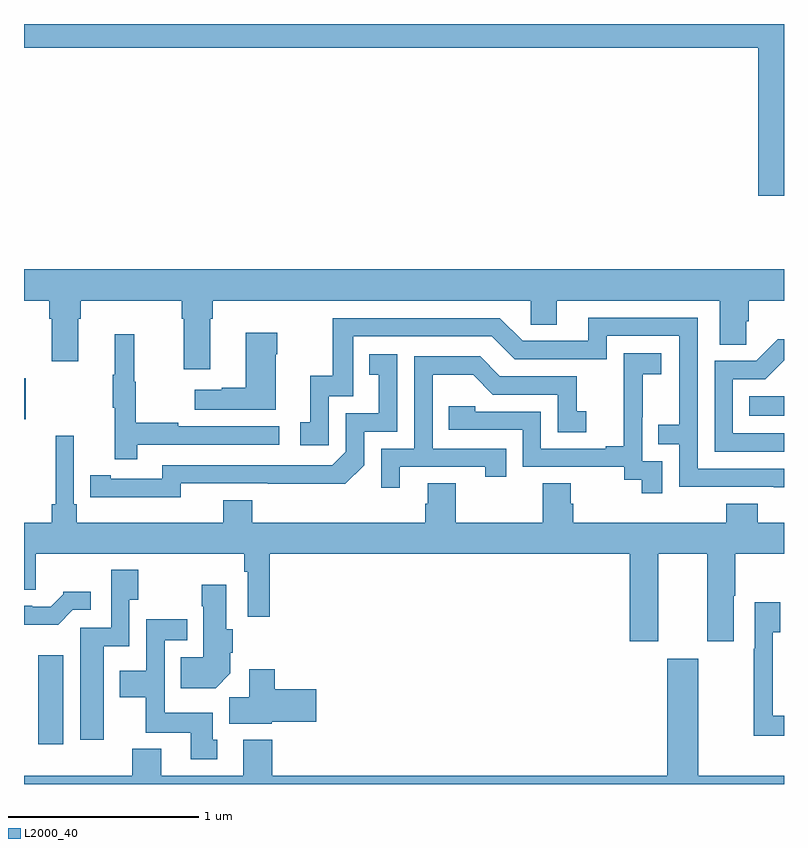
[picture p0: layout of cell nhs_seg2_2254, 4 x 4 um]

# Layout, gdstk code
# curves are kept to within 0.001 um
import gdstk
lib = gdstk.Library(unit=1e-6, precision=1e-09)
def R(c, l, rs):  # rectangles x0, y0, x1, y1
    for r in rs: c.add(gdstk.rectangle(r[:2], r[2:], *l))
def P(c, l, *ps):  # polygons
    for p in ps: c.add(gdstk.Polygon(p, *l))
L2000_40 = (2000, 40)

nhs_seg2_2254 = lib.new_cell('nhs_seg2_2254')
R(nhs_seg2_2254, L2000_40, [(229.076,604.008,229.207,604.477), (229,605.719,229.008,605.936), (232.816,605.738,233,605.842)])
P(nhs_seg2_2254, L2000_40, [(233,607.8),(229,607.8),(229,607.676),(232.865,607.676),(232.865,606.897),(233,606.897)],
  [(229.981,606.248),(229.994,606.248),(229.994,606.344),(231.666,606.344),(231.666,606.217),(231.805,606.217),(231.805,606.344),(232.661,606.344),(232.661,606.112),(232.8,606.112),(232.8,606.235),(232.814,606.235),(232.814,606.344),(233,606.344),(233,606.508),(229,606.508),(229,606.344),(229.133,606.344),(229.133,606.248),(229.145,606.248),(229.145,606.024),(229.285,606.024),(229.285,606.248),(229.298,606.248),(229.298,606.344),(229.829,606.344),(229.829,606.248),(229.841,606.248),(229.841,605.982),(229.981,605.982)],
  [(233,605.46),(232.545,605.46),(232.545,606.255),(231.971,606.255),(231.971,606.132),(231.624,606.132),(231.504,606.252),(230.625,606.252),(230.625,605.95),(230.507,605.95),(230.507,605.703),(230.454,605.703),(230.454,605.583),(230.604,605.583),(230.604,605.841),(230.733,605.841),(230.733,606.156),(231.462,606.156),(231.582,606.036),(232.068,606.036),(232.068,606.159),(232.449,606.159),(232.449,605.69),(232.339,605.69),(232.339,605.589),(232.449,605.589),(232.449,605.364),(233,605.363)],
  [(230.326,606.062),(230.334,606.062),(230.334,606.175),(230.168,606.175),(230.168,605.885),(230.042,605.885),(230.042,605.875),(229.899,605.875),(229.899,605.771),(230.326,605.771)],
  [(229.595,605.586),(230.344,605.586),(230.344,605.682),(229.811,605.682),(229.811,605.702),(229.588,605.702),(229.588,605.916),(229.58,605.916),(229.58,606.166),(229.478,606.166),(229.478,605.953),(229.467,605.953),(229.467,605.779),(229.478,605.779),(229.478,605.508),(229.595,605.508)],
  [(233,605.646),(232.731,605.646),(232.731,605.931),(232.9,605.931),(233,606.031),(233,606.14),(232.967,606.14),(232.854,606.027),(232.635,606.027),(232.635,605.55),(233,605.55)],
  [(232.359,605.499),(232.254,605.499),(232.254,605.729),(232.256,605.729),(232.256,605.957),(232.354,605.957),(232.354,606.067),(232.156,606.067),(232.156,605.861),(232.157,605.861),(232.157,605.578),(232.061,605.578),(232.061,605.565),(231.72,605.565),(231.72,605.76),(231.375,605.76),(231.375,605.787),(231.235,605.787),(231.235,605.664),(231.624,605.664),(231.624,605.469),(232.158,605.469),(232.158,605.401),(232.251,605.401),(232.251,605.331),(232.359,605.331)],
  [(229.824,605.382),(230.692,605.381),(230.79,605.478),(230.79,605.655),(230.964,605.655),(230.964,606.061),(230.818,606.061),(230.818,605.955),(230.867,605.955),(230.867,605.751),(230.694,605.751),(230.694,605.55),(230.622,605.478),(229.728,605.478),(229.728,605.406),(229.456,605.406),(229.456,605.426),(229.348,605.426),(229.348,605.31),(229.824,605.309)],
  [(230.977,605.469),(231.428,605.469),(231.428,605.418),(231.539,605.418),(231.539,605.565),(231.15,605.565),(231.15,605.954),(231.364,605.954),(231.468,605.85),(231.81,605.85),(231.81,605.652),(231.958,605.652),(231.958,605.761),(231.909,605.761),(231.909,605.946),(231.505,605.946),(231.4,606.051),(231.054,606.051),(231.054,605.565),(230.88,605.565),(230.88,605.358),(230.977,605.358)],
  [(232.697,605.176),(231.89,605.176),(231.89,605.274),(231.877,605.274),(231.877,605.384),(231.73,605.384),(231.73,605.176),(231.273,605.176),(231.273,605.384),(231.125,605.384),(231.125,605.274),(231.113,605.274),(231.113,605.176),(230.201,605.176),(230.201,605.293),(230.048,605.293),(230.048,605.176),(229.277,605.176),(229.277,605.272),(229.263,605.272),(229.263,605.632),(229.166,605.632),(229.166,605.272),(229.147,605.272),(229.147,605.176),(229,605.176),(229,604.822),(229.063,604.822),(229.063,605.012),(230.158,605.012),(230.158,604.916),(230.178,604.916),(230.178,604.68),(230.294,604.68),(230.294,605.012),(232.187,605.012),(232.187,604.551),(232.339,604.551),(232.339,605.012),(232.595,605.012),(232.595,604.551),(232.735,604.551),(232.735,604.79),(232.743,604.79),(232.743,605.012),(233,605.012),(233,605.176),(232.862,605.176),(232.862,605.275),(232.697,605.275)],
  [(229.42,604.526),(229.554,604.526),(229.554,604.771),(229.602,604.771),(229.602,604.927),(229.458,604.927),(229.458,604.623),(229.295,604.623),(229.295,604.032),(229.42,604.032)],
  [(230.086,604.382),(230.086,604.492),(230.099,604.492),(230.099,604.614),(230.065,604.614),(230.065,604.849),(229.936,604.849),(229.936,604.736),(229.943,604.736),(229.943,604.468),(229.825,604.468),(229.825,604.304),(230.008,604.304)],
  [(229.257,604.716),(229.351,604.716),(229.351,604.813),(229.206,604.813),(229.206,604.798),(229.142,604.734),(229.043,604.734),(229.043,604.737),(229,604.737),(229,604.638),(229.179,604.638)],
  [(233,604.158),(232.941,604.158),(232.941,604.6),(232.981,604.6),(232.981,604.756),(232.845,604.756),(232.845,604.511),(232.84,604.511),(232.84,604.055),(233,604.055)],
  [(230.017,604.032),(229.993,604.032),(229.993,604.174),(229.74,604.174),(229.74,604.557),(229.858,604.557),(229.858,604.666),(229.644,604.666),(229.644,604.396),(229.505,604.396),(229.505,604.256),(229.642,604.256),(229.642,604.07),(229.877,604.07),(229.877,603.93),(230.017,603.93)],
  [(233,603.844),(232.549,603.844),(232.549,604.459),(232.385,604.459),(232.385,603.844),(230.306,603.844),(230.306,604.033),(230.153,604.033),(230.153,603.844),(229.723,603.844),(229.723,603.985),(229.571,603.985),(229.571,603.844),(229,603.844),(229,603.8),(233,603.8)],
  [(230.304,604.127),(230.539,604.127),(230.539,604.298),(230.321,604.298),(230.321,604.405),(230.186,604.405),(230.186,604.256),(230.081,604.256),(230.081,604.118),(230.304,604.118)])

lib.write_gds('nhs_seg2_2254.gds')
